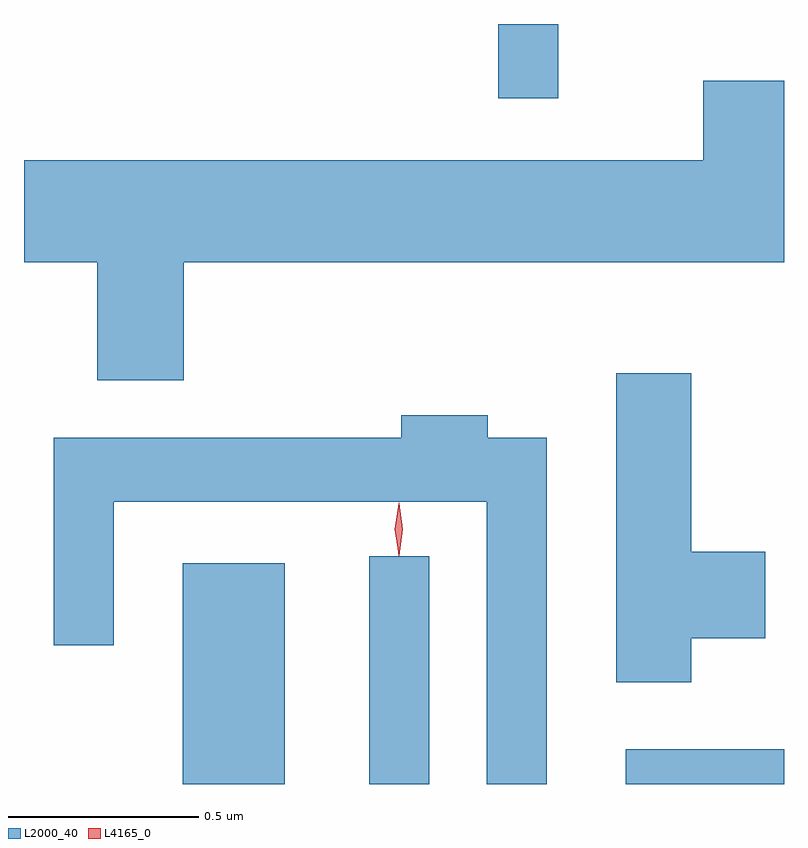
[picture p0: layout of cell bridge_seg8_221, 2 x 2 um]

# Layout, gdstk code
import gdstk
lib = gdstk.Library(unit=1e-6, precision=1e-09)
def R(c, l, rs):  # rectangles x0, y0, x1, y1
    for r in rs: c.add(gdstk.rectangle(r[:2], r[2:], *l))
def P(c, l, *ps):  # polygons
    for p in ps: c.add(gdstk.Polygon(p, *l))
L2000_40 = (2000, 40)
L4165_0 = (4165, 0)

bridge_seg8_221 = lib.new_cell('bridge_seg8_221')
R(bridge_seg8_221, L2000_40, [(1066.266,1910.523,1066.534,1911.104), (1066.756,1910.523,1066.914,1911.123), (1067.431,1910.523,1067.848,1910.614), (1067.096,1912.328,1067.254,1912.523)])
P(bridge_seg8_221, L2000_40, [(1066.269,1911.896),(1067.848,1911.896),(1067.848,1912.374),(1067.636,1912.374),(1067.636,1912.164),(1065.848,1912.164),(1065.848,1911.896),(1066.041,1911.896),(1066.041,1911.586),(1066.269,1911.586)],
  [(1067.604,1910.906),(1067.799,1910.906),(1067.799,1911.134),(1067.604,1911.134),(1067.604,1911.604),(1067.406,1911.604),(1067.406,1910.791),(1067.604,1910.791)],
  [(1067.224,1911.434),(1067.069,1911.434),(1067.069,1911.494),(1066.841,1911.494),(1066.841,1911.434),(1065.926,1911.434),(1065.926,1910.888),(1066.084,1910.888),(1066.084,1911.266),(1067.066,1911.266),(1067.066,1910.523),(1067.224,1910.523)])
P(bridge_seg8_221, L4165_0, [(1066.834,1911.127),(1066.834,1911.127),(1066.824,1911.194),(1066.834,1911.26),(1066.834,1911.26),(1066.835,1911.26),(1066.844,1911.194),(1066.835,1911.127)],
  [(1066.834,1911.124),(1066.825,1911.193),(1066.834,1911.262),(1066.835,1911.263),(1066.835,1911.262),(1066.845,1911.193),(1066.835,1911.124),(1066.835,1911.124)])

lib.write_gds('bridge_seg8_221.gds')
